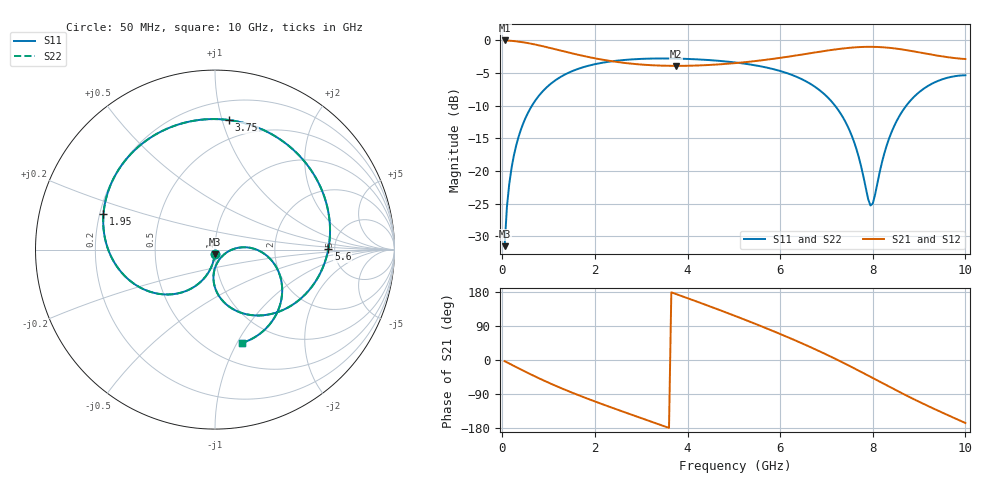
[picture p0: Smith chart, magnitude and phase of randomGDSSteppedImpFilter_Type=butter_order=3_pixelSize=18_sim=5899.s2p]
! freq	dB(S11)	phase(S11)	dB(S12)	phase(S12)
!  dB(S21)	phase(S21)	dB(S22)	phase(S22)
!S-par simulation data
#  GHz  S  DB  R 50
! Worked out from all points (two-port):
!   200 points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, 50 MHz to 10 GHz, reference 50 ohm
!   highest |S21| = 0.00 dB at 50 MHz (marker M1); lowest = -3.9 dB at 3.75 GHz (marker M2)
!   |S21| within 3 dB of the highest: start of sweep to 2.208 GHz; 5.646 GHz to end of sweep
!   lowest |S11| = -31.5 dB at 50 MHz (marker M3), VSWR 1.05, Z = 49.8 - j2.65 ohm
!   |S11| at or under -10 dB: start of sweep to 639.7 MHz; 7.186 GHz to 8.723 GHz (1.536 GHz wide, 19.3 % of centre)
!   |S22| runs from -31.5 to -2.8 dB; largest |S21 - S12| = 0
!   S11 on the Smith chart (normalised r, x): 50 MHz: 1.00, -0.05; 1.95 GHz: 0.22, +0.15; 3.75 GHz: 0.34, +1.05; 5.6 GHz: 4.43, +0.04; 10 GHz: 0.71, -1.05
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0.05  -31.49 -93.1  -0.00 -3.1  -0.00 -3.1  -31.49 -93.1
0.1  -25.48 -96.3  -0.02 -6.2  -0.02 -6.2  -25.48 -96.3
0.2  -19.51 -102.7  -0.07 -12.5  -0.07 -12.5  -19.51 -102.7
0.5  -11.89 -121.4  -0.34 -31.0  -0.34 -31.0  -11.89 -121.4
1.05  -6.61 -153.0  -1.18 -62.6  -1.18 -62.6  -6.61 -153.0
1.75  -4.09 171.8  -2.37 -97.8  -2.37 -97.8  -4.09 171.8
1.95  -3.72 162.5  -2.67 -107.1  -2.67 -107.1  -3.72 162.5
2.6  -3.01 133.5  -3.41 -136.0  -3.41 -136.0  -3.01 133.5
3.4  -2.76 99.0  -3.85 -170.6  -3.85 -170.6  -2.76 99.0
3.75  -2.78 83.9  -3.89 174.2  -3.89 174.2  -2.78 83.9
4.35  -2.95 57.5  -3.80 147.5  -3.80 147.5  -2.95 57.5
5.05  -3.39 25.9  -3.46 115.2  -3.46 115.2  -3.39 25.9
5.6  -3.99 0.2  -3.05 88.8  -3.05 88.8  -3.99 0.2
6.15  -5.01 -26.3  -2.51 61.0  -2.51 61.0  -5.01 -26.3
6.7  -6.85 -53.6  -1.90 31.5  -1.90 31.5  -6.85 -53.6
7.45  -13.03 -89.0  -1.16 -12.6  -1.16 -12.6  -13.03 -88.9
7.65  -16.69 -93.3  -1.04 -25.2  -1.04 -25.2  -16.69 -93.3
7.95  -25.26 -49.9  -0.98 -44.3  -0.98 -44.3  -25.23 -49.9
8.35  -15.05 4.1  -1.13 -70.1  -1.13 -70.1  -15.05 4.0
8.7  -10.21 -9.1  -1.45 -92.1  -1.45 -92.1  -10.21 -9.1
9.15  -7.15 -31.5  -2.02 -119.0  -2.02 -119.0  -7.15 -31.5
10  -5.33 -73.9  -2.85 -166.3  -2.85 -166.3  -5.33 -74.0
